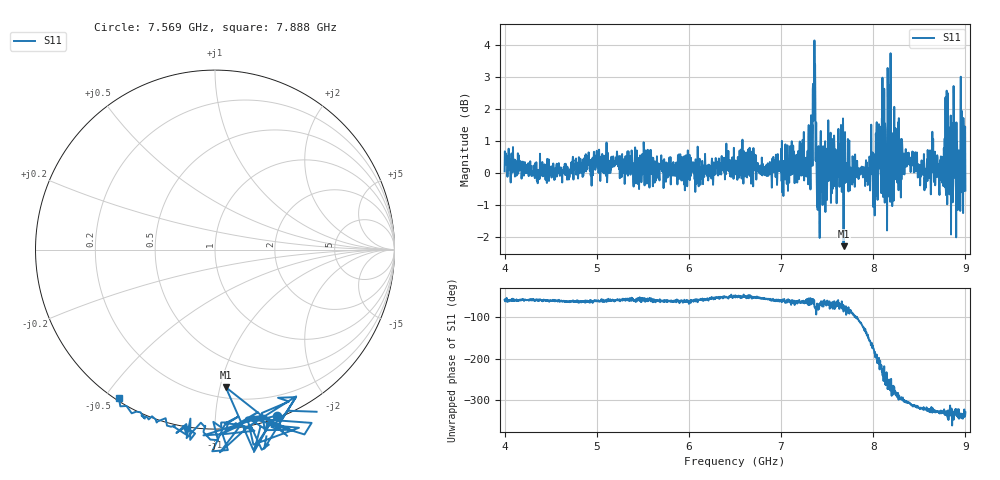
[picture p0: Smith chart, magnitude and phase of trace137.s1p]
! Created with skrf 1.8.0 (http://scikit-rf.org).
# Hz S RI R 50.0
!freq ReS11 ImS11
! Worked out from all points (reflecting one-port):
!   1601 points, 4 GHz to 9 GHz, reference 50 ohm
!   lowest |S11| = -2.3 dB at 7.678 GHz (marker M1), VSWR 7.66, Z = 13.9 - j52.1 ohm
!   phase of S11 starts at -57 deg and turns -272 deg over the sweep
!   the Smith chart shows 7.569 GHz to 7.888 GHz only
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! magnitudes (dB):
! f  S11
! 4 GHz  0.1
! 4.625 GHz  -0.3
! 5.25 GHz  -0.2
! 5.875 GHz  -0.4
! 6.5 GHz  0.1
! 7.125 GHz  0.3
! 7.294 GHz  -0.4
! 7.316 GHz  0.1
! 7.347 GHz  2.8
! 7.369 GHz  3.4
! 7.397 GHz  -1.1
! 7.412 GHz  -0.4
! 7.512 GHz  1.6
! 7.581 GHz  -0.4
! 7.647 GHz  0.9
! 7.678 GHz  -2.3
! 7.75 GHz  -0.3
! 8.022 GHz  0.0
! 8.097 GHz  0.9
! 8.128 GHz  1.5
! 8.178 GHz  2.5
! 8.216 GHz  1.0
! 8.375 GHz  0.4
! 8.553 GHz  0.0
! 8.816 GHz  -0.3
! 8.919 GHz  -0.7
! 8.972 GHz  0.0
! 9 GHz  -0.5
